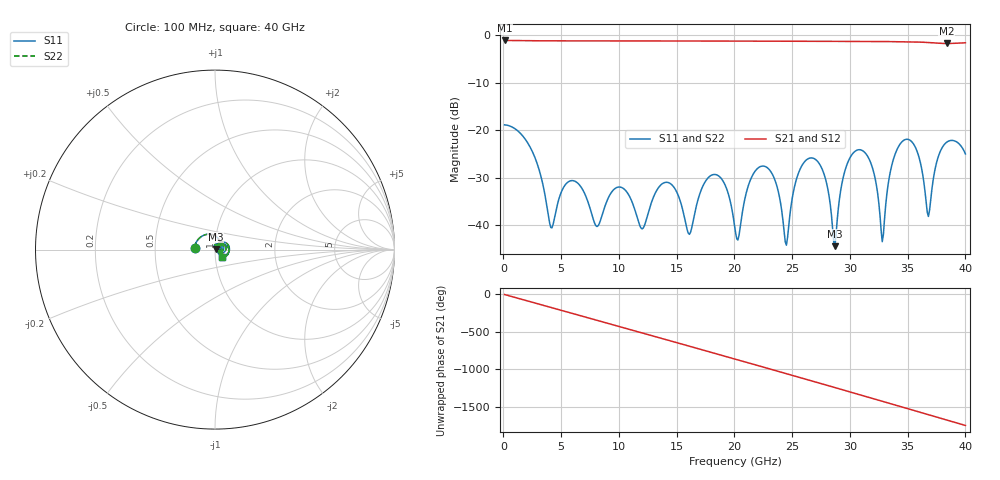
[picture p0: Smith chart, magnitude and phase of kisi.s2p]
! T_vna6_cpwg_20: Coplanar waveguide with ground, LibreVNA RF class (w 0.35, gap 0.18 mm), 20 mm
! stackup: LibreVNA 6-layer (7628 / FR-4, from the board file)
! ports: 1 near A, 2 far A
! kisi-fdtd, conformal, dfine 0.035 mm, 1082240 cells
# Hz S RI R 50
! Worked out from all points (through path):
!   400 points, 100 MHz to 40 GHz, reference 50 ohm
!   highest |S21| = -1.05 dB at 100 MHz (marker M1); lowest = -1.7 dB at 38.4 GHz (marker M2)
!   group delay of S21, straight-line fit = 121 ps
!   lowest |S11| = -44.4 dB at 28.7 GHz (marker M3), VSWR 1.01, Z = 50.5 + j0.307 ohm
!   |S11| at or under -10 dB: start of sweep to end of sweep
!   |S22| runs from -44.4 to -18.8 dB; largest |S21 - S12| = 0
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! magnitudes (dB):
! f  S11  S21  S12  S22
! 100 MHz  -18.8  -1.1  -1.1  -18.8
! 2.6 GHz  -25.0  -1.1  -1.1  -25.0
! 4.1 GHz  -40.5  -1.1  -1.1  -40.5
! 6.8 GHz  -32.2  -1.1  -1.1  -32.2
! 12 GHz  -40.8  -1.2  -1.2  -40.8
! 13.4 GHz  -32.2  -1.2  -1.2  -32.2
! 16.1 GHz  -41.9  -1.2  -1.2  -41.9
! 18.6 GHz  -29.5  -1.2  -1.2  -29.5
! 20.1 GHz  -41.5  -1.2  -1.2  -41.5
! 22.6 GHz  -27.6  -1.2  -1.2  -27.6
! 24.5 GHz  -44.2  -1.2  -1.2  -44.2
! 25.4 GHz  -30.1  -1.2  -1.2  -30.1
! 26.7 GHz  -25.8  -1.2  -1.2  -25.8
! 28.7 GHz  -44.4  -1.2  -1.2  -44.4
! 30.2 GHz  -25.0  -1.3  -1.3  -25.0
! 31.9 GHz  -27.5  -1.3  -1.3  -27.5
! 32.8 GHz  -43.5  -1.3  -1.3  -43.5
! 33.4 GHz  -30.0  -1.3  -1.3  -30.0
! 35.3 GHz  -22.3  -1.4  -1.4  -22.3
! 36.8 GHz  -38.1  -1.5  -1.5  -38.1
! 38.4 GHz  -22.5  -1.7  -1.7  -22.5
! 40 GHz  -25.0  -1.5  -1.5  -25.0
